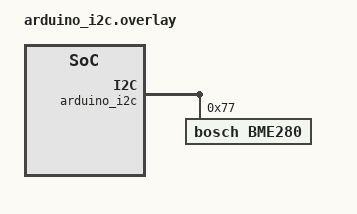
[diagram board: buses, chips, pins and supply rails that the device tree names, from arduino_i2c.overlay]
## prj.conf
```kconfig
CONFIG_SENSOR=y
CONFIG_SENSOR_ASYNC_API=y

# CONFIG_I2C=y
# CONFIG_I2C_LOG_LEVEL_DBG=y
# CONFIG_SENSOR_LOG_LEVEL_DBG=y
# CONFIG_LOG=y
# CONFIG_LOG_DEFAULT_LEVEL=4
```

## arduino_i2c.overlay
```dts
/*
 * Copyright (c) 2020, Nordic Semiconductor ASA
 *
 * SPDX-License-Identifier: Apache-2.0
 */

/*
 * Example configuration of a BME280 device on an Arduino I2C bus.
 *
 * Device address 0x77 is assumed. Your device may have a different
 * address; check your device documentation if unsure.
 */
&arduino_i2c {
	status = "okay";
	bme280@76 {
		compatible = "bosch,bme280";
		reg = <0x77>;
	};
};
```

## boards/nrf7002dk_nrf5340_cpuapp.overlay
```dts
// / {
// 	aliases {
// 		led5180 = &led1;// Alias for the LED1 node (LED2 on nRF7002DK)
// 		button5180 = &button0;// Alias for the button (sw0 on nRF7002DK)
// 	};
// };

// /*
//  * Example configuration of a BME280 device on an Arduino I2C bus.
//  *
//  * Device address 0x77 is assumed. Your device may have a different
//  * address; check your device documentation if unsure.
//  */
// &arduino_i2c {
// 	status = "okay";
// 	bme280@76 {
// 		compatible = "bosch,bme280";
// 		reg = <0x76>;
// 	};
// };


/ {
    aliases {
        led5180 = &led1;
        button5180 = &button0;
    };
};

&i2c1 {
    status = "okay";
    pinctrl-0 = <&i2c1_default>;
    pinctrl-1 = <&i2c1_sleep>;
    pinctrl-names = "default", "sleep";

    bme280@76 {
        compatible = "bosch,bme280";
        status = "okay";
        reg = <0x76>;
    };
};

&pinctrl {
    /omit-if-no-ref/ i2c1_default: i2c1_default {
        group1 {
            psels = <NRF_PSEL(TWIM_SCL, 1, 14)>, <NRF_PSEL(TWIM_SDA, 1, 15)>;
        };
    };

    /omit-if-no-ref/ i2c1_sleep: i2c1_sleep {
        group1 {
            psels = <NRF_PSEL(TWIM_SCL, 1, 14)>, <NRF_PSEL(TWIM_SDA, 1, 15)>;
            low-power-enable;
        };
    };
};
```

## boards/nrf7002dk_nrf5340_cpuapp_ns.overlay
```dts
// / {
// 	aliases {
// 		led5180 = &led1;// Alias for the LED1 node (LED2 on nRF7002DK)
// 		button5180 = &button0;// Alias for the button (sw0 on nRF7002DK)
// 	};
// };

// /*
//  * Example configuration of a BME280 device on an Arduino I2C bus.
//  *
//  * Device address 0x77 is assumed. Your device may have a different
//  * address; check your device documentation if unsure.
//  */
// &arduino_i2c {
// 	status = "okay";
// 	bme280@76 {
// 		compatible = "bosch,bme280";
// 		reg = <0x76>;
// 	};
// };


/ {
    aliases {
        led5180 = &led1;
        button5180 = &button0;
    };
};

/* Disable I2C and BME280 in the non-secure overlay so the secure side
 * owns the peripheral. Non-secure code should access the sensor via a
 * secure service or the application should be built for the secure
 * variant instead.
 */
&i2c1 {
    status = "disabled";
    /* pinctrl groups left present but unused by non-secure */
    pinctrl-0 = <&i2c1_default>;
    pinctrl-1 = <&i2c1_sleep>;
    pinctrl-names = "default", "sleep";

    bme280@77 {
        compatible = "bosch,bme280";
        status = "disabled";
        reg = <0x77>;
    };
};

&pinctrl {
    /omit-if-no-ref/ i2c1_default: i2c1_default {
        group1 {
            psels = <NRF_PSEL(TWIM_SCL, 1, 14)>, <NRF_PSEL(TWIM_SDA, 1, 15)>;
        };
    };

    /omit-if-no-ref/ i2c1_sleep: i2c1_sleep {
        group1 {
            psels = <NRF_PSEL(TWIM_SCL, 1, 14)>, <NRF_PSEL(TWIM_SDA, 1, 15)>;
            low-power-enable;
        };
    };
};
```

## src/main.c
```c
/*
 * Copyright (c) 2012-2014 Wind River Systems, Inc.
 * Copyright (c) 2021 Nordic Semiconductor ASA
 *
 * SPDX-License-Identifier: Apache-2.0
 */

#include <zephyr/kernel.h>
#include <zephyr/device.h>
#include <zephyr/devicetree.h>
#include <zephyr/drivers/sensor.h>
#include <zephyr/drivers/sensor_data_types.h>
#include <zephyr/rtio/rtio.h>
#include <zephyr/dsp/print_format.h>
#include <zephyr/logging/log.h>

LOG_MODULE_REGISTER(main, LOG_LEVEL_INF);

/*
 * Get a device structure from a devicetree node with compatible
 * "bosch,bme280". (If there are multiple, just pick one.)
 */
const struct device *const dev = DEVICE_DT_GET_ANY(bosch_bme280);

SENSOR_DT_READ_IODEV(iodev, DT_COMPAT_GET_ANY_STATUS_OKAY(bosch_bme280),
		{SENSOR_CHAN_AMBIENT_TEMP, 0},
		{SENSOR_CHAN_HUMIDITY, 0},
		{SENSOR_CHAN_PRESS, 0});

RTIO_DEFINE(ctx, 1, 1);

static const struct device *check_bme280_device(void)
{
	if (dev == NULL) {
		/* No such node, or the node does not have status "okay". */
		LOG_INF("\nError: no device found.\n");
		return NULL;
	}

	if (!device_is_ready(dev)) {
		LOG_INF("\nError: Device \"%s\" is not ready; "
		       "check the driver initialization logs for errors.\n",
		       dev->name);
		return NULL;
	}

	LOG_INF("Found device \"%s\", getting sensor data\n", dev->name);
	return dev;
}

int main(void)
{
	const struct device *dev = check_bme280_device();

	if (dev == NULL) {
		return 0;
	}

	while (1) {
		uint8_t buf[128];

		int rc = sensor_read(&iodev, &ctx, buf, 128);

		if (rc != 0) {
			LOG_INF("%s: sensor_read() failed: %d\n", dev->name, rc);
			return rc;
		}

		const struct sensor_decoder_api *decoder;

		rc = sensor_get_decoder(dev, &decoder);

		if (rc != 0) {
			printk("%s: sensor_get_decode() failed: %d\n", dev->name, rc);
			return rc;
		}

		uint32_t temp_fit = 0;
		struct sensor_q31_data temp_data = {0};

		decoder->decode(buf,
			(struct sensor_chan_spec) {SENSOR_CHAN_AMBIENT_TEMP, 0},
			&temp_fit, 1, &temp_data);

		uint32_t press_fit = 0;
		struct sensor_q31_data press_data = {0};

		decoder->decode(buf,
				(struct sensor_chan_spec) {SENSOR_CHAN_PRESS, 0},
				&press_fit, 1, &press_data);

		uint32_t hum_fit = 0;
		struct sensor_q31_data hum_data = {0};

		decoder->decode(buf,
				(struct sensor_chan_spec) {SENSOR_CHAN_HUMIDITY, 0},
				&hum_fit, 1, &hum_data);

		printk("temp: %s%d.%d; press: %s%d.%d; humidity: %s%d.%d\n",
			PRIq_arg(temp_data.readings[0].temperature, 6, temp_data.shift),
			PRIq_arg(press_data.readings[0].pressure, 6, press_data.shift),
			PRIq_arg(hum_data.readings[0].humidity, 6, hum_data.shift));

		k_sleep(K_MSEC(1000));
	}
	return 0;
}
```
